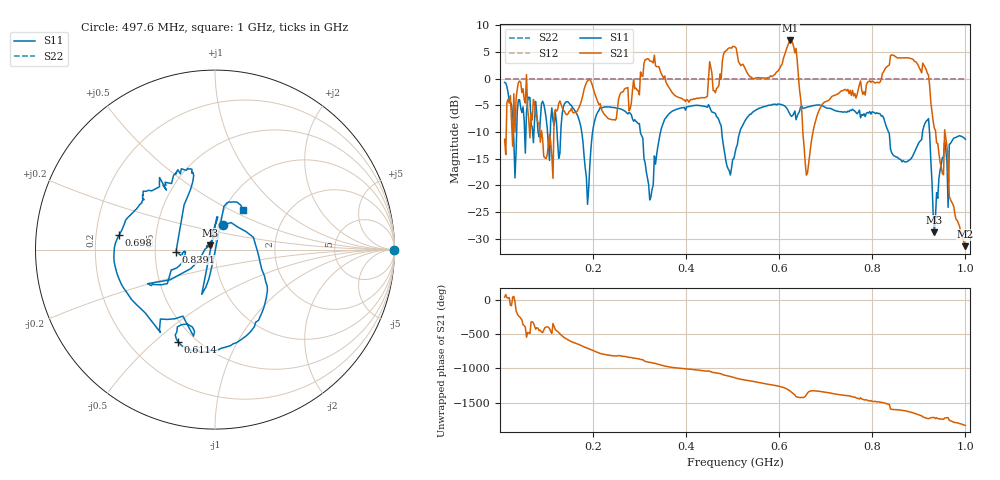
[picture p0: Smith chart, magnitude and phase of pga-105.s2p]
! Anritsu VNA Master:  Model: MS2024B
! SN:  2417009
! /card0/usr/pga-105.s2p
! Existing Calibration Information:
! TYPE:  Current Settings,  Active Cal Settings
! TIME:  09/10/2026 05:37:38 AM,  09/10/2026 05:34:42 AM
! INTERNAL TEMP:  45.8 C,  44.8 C
! # POINTS:  401,  401
! START FREQ:  10.000 MHz,  10.000 MHz
! STOP FREQ:  1.000 GHz,  1.000 GHz
! SOURCE POWER:  Default,  Default
! IFBW:  1 kHz,  1 kHz
! AVG FACTOR:  16 ,  16
! REF PLANE 1:  0 mm,  0 mm
! REF PLANE 2:  0 mm,  0 mm
! CAL TYPE:  1P2P S11,S21,  1P2P S11,S21
! CAL METHOD:  SOLT,  SOLT
! CAL LINE TYPE:  Coax,  Coax
! DUT PORT 1:  N-Conn(M),  N-Conn(M)
! DUT PORT 2:  N-Conn(M),  N-Conn(M)
! CAL STATUS:  OK: Accuracy High,  --
# GHZ S DB R 50.0
! FREQ.GHZ  S11DB  S11A  S21DB  S21A  S12DB  S12A  S22DB  S22A
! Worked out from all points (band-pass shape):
!   401 points, 10 MHz to 1 GHz, reference 50 ohm
!   highest |S21| = 7.13 dB at 623.8 MHz (marker M1); lowest = -31.4 dB at 1 GHz (marker M2)
!   |S21| within 3 dB of the highest: 479.5 MHz to 510.6 MHz (31.08 MHz wide, 6.28 % of centre); 610.4 MHz to 637.9 MHz (27.41 MHz wide, 4.39 % of centre) (the widest 2 of 4)
!   lowest |S11| = -28.8 dB at 933.2 MHz (marker M3), VSWR 1.08, Z = 47.3 + j2.35 ohm
!   |S11| at or under -10 dB: 301.7 MHz to 345 MHz (43.32 MHz wide, 13.4 % of centre); 834.8 MHz to 908 MHz (73.24 MHz wide, 8.4 % of centre); 922.9 MHz to end of sweep (the widest 3 of 11)
!   |S22| runs from 0.0 to 0.0 dB; largest |S21 - S12| = 2.8
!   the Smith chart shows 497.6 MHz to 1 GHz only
!   S11 on the Smith chart (normalised r, x): 497.6 MHz: 1.05, +0.30; 611.4 MHz: 0.40, -0.60; 698 MHz: 0.30, +0.07; 839.1 MHz: 0.64, -0.01; 1 GHz: 1.22, +0.58
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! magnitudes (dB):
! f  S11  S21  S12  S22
! 10 MHz  -0.7  -11.4  0.0  0.0
! 32.27 MHz  -18.6  -10.1  0.0  0.0
! 99.1 MHz  -7.3  -15.0  0.0  0.0
! 175.8 MHz  -10.0  -4.0  0.0  0.0
! 188.2 MHz  -23.6  -0.4  0.0  0.0
! 210.5 MHz  -6.2  -4.4  0.0  0.0
! 277.3 MHz  -6.4  -6.0  0.0  0.0
! 324.3 MHz  -22.2  3.3  0.0  0.0
! 341.6 MHz  -11.6  2.2  0.0  0.0
! 445.6 MHz  -5.4  -3.3  0.0  0.0
! 497.6 MHz  -16.7  5.7  0.0  0.0
! 505 MHz  -14.0  5.9  0.0  0.0
! 611.4 MHz  -5.1  4.4  0.0  0.0
! 623.8 MHz  -6.8  7.1  0.0  0.0
! 658.5 MHz  -5.4  -18.1  0.0  0.0
! 670.8 MHz  -5.1  -10.8  0.0  0.0
! 698 MHz  -5.3  -4.4  0.0  0.0
! 836.6 MHz  -10.4  2.5  0.0  0.0
! 839.1 MHz  -13.2  4.3  0.0  0.0
! 918.3 MHz  -7.8  1.0  0.0  0.0
! 933.2 MHz  -28.8  -9.3  0.0  0.0
! 1 GHz  -11.4  -31.4  0.0  0.0
